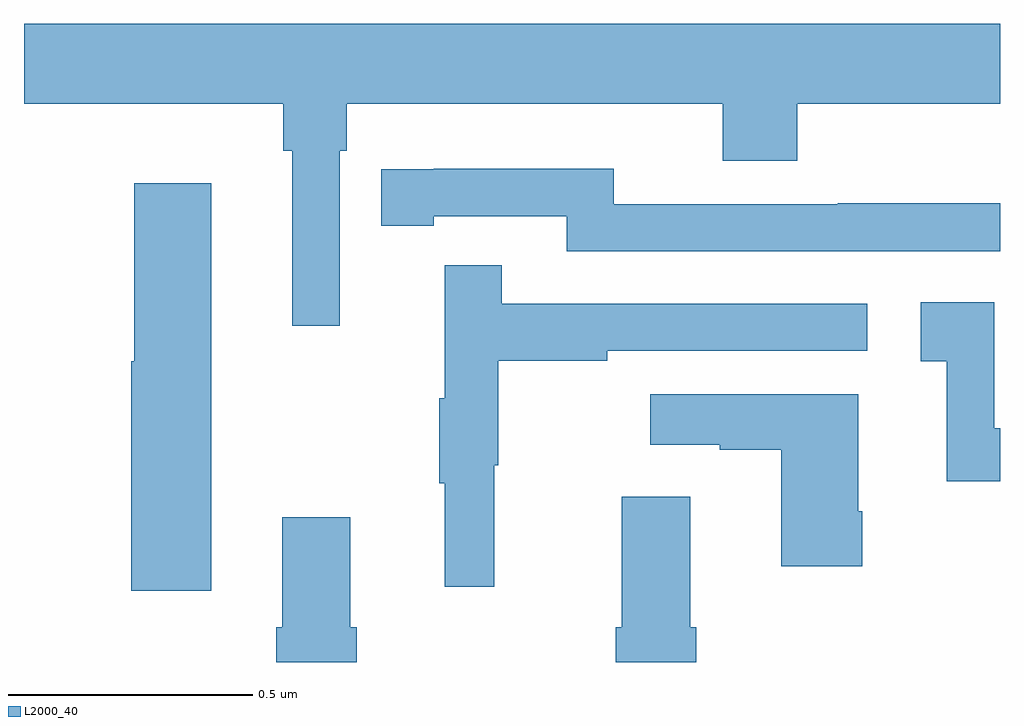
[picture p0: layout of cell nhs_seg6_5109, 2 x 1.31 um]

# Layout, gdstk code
import gdstk
lib = gdstk.Library(unit=1e-6, precision=1e-09)
def P(c, l, *ps):  # polygons
    for p in ps: c.add(gdstk.Polygon(p, *l))
L2000_40 = (2000, 40)

nhs_seg6_5109 = lib.new_cell('nhs_seg6_5109')
P(nhs_seg6_5109, L2000_40, [(178,972.644),(178.531,972.644),(178.531,972.548),(178.55,972.548),(178.55,972.189),(178.647,972.189),(178.647,972.548),(178.661,972.548),(178.661,972.644),(179.432,972.644),(179.432,972.527),(179.585,972.527),(179.585,972.644),(180,972.644),(180,972.808),(178,972.808)],
  [(180,972.44),(179.668,972.44),(179.668,972.438),(179.208,972.438),(179.208,972.511),(178.84,972.511),(178.84,972.51),(178.732,972.51),(178.732,972.394),(178.84,972.394),(178.84,972.414),(179.112,972.414),(179.112,972.342),(180,972.342)],
  [(178.384,972.481),(178.226,972.481),(178.226,972.117),(178.22,972.117),(178.22,971.646),(178.384,971.646)],
  [(178.964,971.904),(178.972,971.904),(178.972,972.118),(179.195,972.118),(179.195,972.138),(179.728,972.138),(179.728,972.234),(178.979,972.234),(178.979,972.313),(178.862,972.313),(178.862,972.041),(178.851,972.041),(178.851,971.867),(178.862,971.867),(178.862,971.655),(178.964,971.655)],
  [(180,971.979),(179.988,971.979),(179.988,972.238),(179.838,972.238),(179.838,972.117),(179.891,972.117),(179.891,971.871),(180,971.871)],
  [(179.718,971.809),(179.71,971.809),(179.71,972.049),(179.283,972.049),(179.283,971.945),(179.426,971.945),(179.426,971.935),(179.552,971.935),(179.552,971.697),(179.718,971.697)],
  [(179.378,971.572),(179.365,971.572),(179.365,971.839),(179.225,971.839),(179.225,971.572),(179.213,971.572),(179.213,971.5),(179.378,971.5)],
  [(178.682,971.572),(178.669,971.572),(178.669,971.797),(178.529,971.797),(178.529,971.572),(178.517,971.572),(178.517,971.5),(178.682,971.5)])

lib.write_gds('nhs_seg6_5109.gds')
